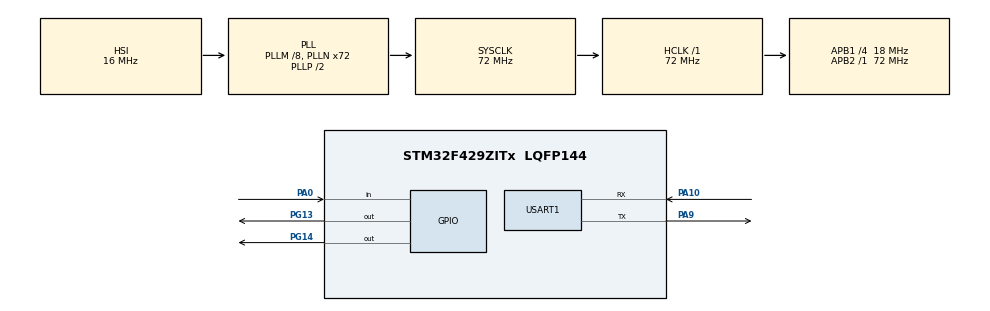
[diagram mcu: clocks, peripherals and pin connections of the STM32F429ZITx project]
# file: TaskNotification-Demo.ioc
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FREERTOS.Tasks01=defaultTask,24,128,StartDefaultTask,Default,NULL,Dynamic,NULL,NULL
Mcu.Family=STM32F4
Mcu.Name=STM32F429ZITx
Mcu.Package=LQFP144
NVIC.PriorityGroup=NVIC_PRIORITYGROUP_4
PA0/WKUP.GPIO_PuPd=GPIO_PULLDOWN
PA0/WKUP.Signal=GPIO_Input
PA10.Mode=Asynchronous
PA10.Signal=USART1_RX
PA9.Mode=Asynchronous
PA9.Signal=USART1_TX
PG13.Signal=GPIO_Output
PG14.Signal=GPIO_Output
ProjectManager.HeapSize=0x200
ProjectManager.StackSize=0x400
ProjectManager.TargetToolchain=STM32CubeIDE
RCC.48MHZClocksFreq_Value=48000000
RCC.AHBFreq_Value=72000000
RCC.APB1CLKDivider=RCC_HCLK_DIV4
RCC.APB1Freq_Value=18000000
RCC.APB1TimFreq_Value=36000000
RCC.APB2Freq_Value=72000000
RCC.APB2TimFreq_Value=72000000
RCC.CortexFreq_Value=72000000
RCC.HCLKFreq_Value=72000000
RCC.HSE_VALUE=8000000
RCC.HSI_VALUE=16000000
RCC.LSE_VALUE=32768
RCC.PLLM=8
RCC.PLLN=72
RCC.PLLQ=3
RCC.PLLSAIN=50
RCC.SYSCLKFreq_VALUE=72000000
RCC.SYSCLKSource=RCC_SYSCLKSOURCE_PLLCLK
RCC.VCOOutputFreq_Value=144000000
USART1.VirtualMode=VM_ASYNC
VP_FREERTOS_VS_CMSIS_V2.Mode=CMSIS_V2
board=STM32F429I-DISC1

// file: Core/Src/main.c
/* USER CODE BEGIN Header */
/**
  ******************************************************************************
  * @file           : main.c
  * @brief          : Main program body
  ******************************************************************************
  * @attention
  *
  * Copyright (c) 2025 STMicroelectronics.
  * All rights reserved.
  *
  * This software is licensed under terms that can be found in the LICENSE file
  * in the root directory of this software component.
  * If no LICENSE file comes with this software, it is provided AS-IS.
  *
  ******************************************************************************
  */
/* USER CODE END Header */
#include "main.h"

/* USER CODE BEGIN PM */
/* Notification bit definitions */
#define NOTIFICATION_BIT_0    (1UL << 0)  /* Button pressed */
#define NOTIFICATION_BIT_1    (1UL << 1)  /* Timer event */
#define NOTIFICATION_BIT_2    (1UL << 2)  /* Data ready */
/* USER CODE END PM */

UART_HandleTypeDef huart1;

/* Definitions for defaultTask */

/* USER CODE BEGIN PV */
/* Task handles */
TaskHandle_t xNotifierTaskHandle = NULL;
TaskHandle_t xWaiterTaskHandle = NULL;
TaskHandle_t xButtonTaskHandle = NULL;
TaskHandle_t xLcdUpdateTaskHandle = NULL;

/* Counters */
static volatile uint32_t ulNotificationsSent = 0;
static volatile uint32_t ulNotificationsReceived = 0;
/* USER CODE END PV */

void SystemClock_Config(void);
static void MX_GPIO_Init(void);
static void MX_USART1_UART_Init(void);
void StartDefaultTask(void *argument);

/* USER CODE BEGIN PFP */
/* Function prototypes */
static void NotifierTask(void *pvParameters);
static void WaiterTask(void *pvParameters);
static void ButtonTask(void *pvParameters);
/* USER CODE END PFP */

/* USER CODE BEGIN 0 */
int _write(int file, char *data, int len)
{
    HAL_UART_Transmit(&huart1, (uint8_t*)data, len, HAL_MAX_DELAY);
    return len;
}
/* USER CODE END 0 */

int main(void)
{

  /* MCU Configuration--------------------------------------------------------*/

  /* Reset of all peripherals, Initializes the Flash interface and the Systick. */
  HAL_Init();

  /* Configure the system clock */
  SystemClock_Config();

  /* Initialize all configured peripherals */
  MX_GPIO_Init();
  MX_USART1_UART_Init();

  /* Init scheduler */

  /* Create the thread(s) */
  /* creation of defaultTask */

  /* USER CODE BEGIN RTOS_THREADS */
  /* add threads, ... */
  printf("=== FreeRTOS Task Notification Demonstration ===\r\n");
      printf("STM32F429I Discovery Board\r\n");
      printf("Task notifications are lightweight and fast!\r\n");

      /* Create tasks */
      xTaskCreate(
          NotifierTask,           /* Task function */
          "Notifier",             /* Task name */
          configMINIMAL_STACK_SIZE, /* Stack size */
          NULL,                   /* Parameters to pass to the task */
          tskIDLE_PRIORITY + 1,   /* Task priority */
          &xNotifierTaskHandle    /* Task handle */
      );

      xTaskCreate(
          WaiterTask,             /* Task function */
          "Waiter",               /* Task name */
          configMINIMAL_STACK_SIZE, /* Stack size */
          NULL,                   /* Parameters to pass to the task */
          tskIDLE_PRIORITY + 2,   /* Higher priority */
          &xWaiterTaskHandle      /* Task handle */
      );

      xTaskCreate(
          ButtonTask,             /* Task function */
          "Button",               /* Task name */
          configMINIMAL_STACK_SIZE, /* Stack size */
          NULL,                   /* Parameters to pass to the task */
          tskIDLE_PRIORITY + 2,   /* Higher priority */
          &xButtonTaskHandle      /* Task handle */
      );

      printf("All tasks created. Starting scheduler...\r\n");

      /* Start the scheduler */
      vTaskStartScheduler();
  /* USER CODE END RTOS_THREADS */

  /* Start scheduler */

  /* We should never get here as control is now taken by the scheduler */

  /* Infinite loop */
  while (1)
  {

  }
}

void SystemClock_Config(void)
{
  RCC_OscInitTypeDef RCC_OscInitStruct = {0};
  RCC_ClkInitTypeDef RCC_ClkInitStruct = {0};

  /** Configure the main internal regulator output voltage
  */
  __HAL_RCC_PWR_CLK_ENABLE();
  __HAL_PWR_VOLTAGESCALING_CONFIG(PWR_REGULATOR_VOLTAGE_SCALE3);

  /** Initializes the RCC Oscillators according to the specified parameters
  * in the RCC_OscInitTypeDef structure.
  */
  RCC_OscInitStruct.OscillatorType = RCC_OSCILLATORTYPE_HSI;
  RCC_OscInitStruct.HSIState = RCC_HSI_ON;
  RCC_OscInitStruct.HSICalibrationValue = RCC_HSICALIBRATION_DEFAULT;
  RCC_OscInitStruct.PLL.PLLState = RCC_PLL_ON;
  RCC_OscInitStruct.PLL.PLLSource = RCC_PLLSOURCE_HSI;
  RCC_OscInitStruct.PLL.PLLM = 8;
  RCC_OscInitStruct.PLL.PLLN = 72;
  RCC_OscInitStruct.PLL.PLLP = RCC_PLLP_DIV2;
  RCC_OscInitStruct.PLL.PLLQ = 3;
  if (HAL_RCC_OscConfig(&RCC_OscInitStruct) != HAL_OK)
  {
    Error_Handler();
  }

  /** Initializes the CPU, AHB and APB buses clocks
  */
  RCC_ClkInitStruct.ClockType = RCC_CLOCKTYPE_HCLK|RCC_CLOCKTYPE_SYSCLK
                              |RCC_CLOCKTYPE_PCLK1|RCC_CLOCKTYPE_PCLK2;
  RCC_ClkInitStruct.SYSCLKSource = RCC_SYSCLKSOURCE_PLLCLK;
  RCC_ClkInitStruct.AHBCLKDivider = RCC_SYSCLK_DIV1;
  RCC_ClkInitStruct.APB1CLKDivider = RCC_HCLK_DIV4;
  RCC_ClkInitStruct.APB2CLKDivider = RCC_HCLK_DIV1;

  if (HAL_RCC_ClockConfig(&RCC_ClkInitStruct, FLASH_LATENCY_2) != HAL_OK)
  {
    Error_Handler();
  }
}

static void MX_USART1_UART_Init(void)
{

  huart1.Instance = USART1;
  huart1.Init.BaudRate = 115200;
  huart1.Init.WordLength = UART_WORDLENGTH_8B;
  huart1.Init.StopBits = UART_STOPBITS_1;
  huart1.Init.Parity = UART_PARITY_NONE;
  huart1.Init.Mode = UART_MODE_TX_RX;
  huart1.Init.HwFlowCtl = UART_HWCONTROL_NONE;
  huart1.Init.OverSampling = UART_OVERSAMPLING_16;
  if (HAL_UART_Init(&huart1) != HAL_OK)
  {
    Error_Handler();
  }

}

static void MX_GPIO_Init(void)
{
  GPIO_InitTypeDef GPIO_InitStruct = {0};

  /* GPIO Ports Clock Enable */
  __HAL_RCC_GPIOA_CLK_ENABLE();
  __HAL_RCC_GPIOG_CLK_ENABLE();

  /*Configure GPIO pin Output Level */
  HAL_GPIO_WritePin(GPIOG, GPIO_PIN_13|GPIO_PIN_14, GPIO_PIN_RESET);

  /*Configure GPIO pin : PA0 */
  GPIO_InitStruct.Pin = GPIO_PIN_0;
  GPIO_InitStruct.Mode = GPIO_MODE_INPUT;
  GPIO_InitStruct.Pull = GPIO_PULLDOWN;
  HAL_GPIO_Init(GPIOA, &GPIO_InitStruct);

  /*Configure GPIO pins : PG13 PG14 */
  GPIO_InitStruct.Pin = GPIO_PIN_13|GPIO_PIN_14;
  GPIO_InitStruct.Mode = GPIO_MODE_OUTPUT_PP;
  GPIO_InitStruct.Pull = GPIO_NOPULL;
  GPIO_InitStruct.Speed = GPIO_SPEED_FREQ_LOW;
  HAL_GPIO_Init(GPIOG, &GPIO_InitStruct);

}

/* USER CODE BEGIN 4 */
/**
 * @brief Notifier Task - Sends various types of notifications
 * @param pvParameters: Task parameters (unused)
 */
static void NotifierTask(void *pvParameters)
{
    (void)pvParameters; /* Suppress unused parameter warning */
    uint32_t ulNotificationType = 0;

    printf("Notifier Task: Started\r\n");

    for (;;) {
        /* Cycle through different notification types */
        ulNotificationType = (ulNotificationType + 1) % 3;

        switch (ulNotificationType) {
            case 0:
                /* Send simple notification (binary semaphore style) */
                if (xTaskNotifyGive(xWaiterTaskHandle) == pdPASS) {
                    ulNotificationsSent++;
                    printf("Notifier: Sent simple notification (count style)\r\n");
                }
                break;

            case 1:
                /* Send bit notification - Timer event */
                if (xTaskNotify(xWaiterTaskHandle, NOTIFICATION_BIT_1, eSetBits) == pdPASS) {
                    ulNotificationsSent++;
                    printf("Notifier: Sent timer event notification (bit 1)\r\n");
                }
                break;

            case 2:
                /* Send bit notification - Data ready */
                if (xTaskNotify(xWaiterTaskHandle, NOTIFICATION_BIT_2, eSetBits) == pdPASS) {
                    ulNotificationsSent++;
                    printf("Notifier: Sent data ready notification (bit 2)\r\n");
                }
                break;
        }

        /* Toggle green LED to show activity */
        HAL_GPIO_TogglePin(GPIOG, GPIO_PIN_13);

        vTaskDelay(pdMS_TO_TICKS(2000));
    }
}

/**
 * @brief Waiter Task - Waits for and processes notifications
 * @param pvParameters: Task parameters (unused)
 */
static void WaiterTask(void *pvParameters)
{
    (void)pvParameters; /* Suppress unused parameter warning */
    uint32_t ulNotificationValue;

    printf("Waiter Task: Started - waiting for notifications...\r\n");

    for (;;) {
        /* Wait for any notification with timeout */
        if (xTaskNotifyWait(0x00,           /* Don't clear bits on entry */
                           0xFFFFFFFF,      /* Clear all bits on exit */
                           &ulNotificationValue,
                           pdMS_TO_TICKS(5000)) == pdPASS) {

            ulNotificationsReceived++;

            /* Check if it was a simple notification (counting semaphore style) */
            if (ulNotificationValue > 0) {
                printf("Waiter: Received notification value: %lu\r\n", ulNotificationValue);

                /* Check specific bits */
                if (ulNotificationValue & NOTIFICATION_BIT_0) {
                    printf("Waiter: Button press detected!\r\n");
                }
                if (ulNotificationValue & NOTIFICATION_BIT_1) {
                    printf("Waiter: Timer event processed\r\n");
                }
                if (ulNotificationValue & NOTIFICATION_BIT_2) {
                    printf("Waiter: Data ready processed\r\n");
                }
            }

            /* Toggle red LED to show processing */
            HAL_GPIO_TogglePin(GPIOG, GPIO_PIN_14);

        } else {
            printf("Waiter: Timeout waiting for notification\r\n");
        }
    }
}

/**
 * @brief Button Task - Sends notification when button is pressed
 * @param pvParameters: Task parameters (unused)
 */
static void ButtonTask(void *pvParameters)
{
    (void)pvParameters; /* Suppress unused parameter warning */

    printf("Button Task: Started - Press button to send notification\r\n");

    for (;;) {
        /* Check if button is pressed */
        if (HAL_GPIO_ReadPin(GPIOA, GPIO_PIN_0) == GPIO_PIN_SET) {
            /* Send button press notification */
            if (xTaskNotify(xWaiterTaskHandle, NOTIFICATION_BIT_0, eSetBits) == pdPASS) {
                ulNotificationsSent++;
                printf("Button: Sent button press notification (bit 0)\r\n");
            }

            /* Wait for button release */
            while (HAL_GPIO_ReadPin(GPIOA, GPIO_PIN_0) == GPIO_PIN_SET) {
                vTaskDelay(pdMS_TO_TICKS(10));
            }
        }

        vTaskDelay(pdMS_TO_TICKS(50));
    }
}
/* USER CODE END 4 */

void StartDefaultTask(void *argument)
{
  for(;;)
  {
  }
}

void Error_Handler(void)
{
  __disable_irq();
  while (1)
  {
  }
}
